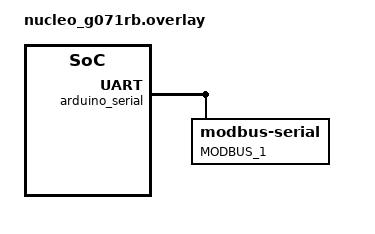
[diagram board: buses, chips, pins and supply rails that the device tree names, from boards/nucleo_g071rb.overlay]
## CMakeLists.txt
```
#
# Copyright (c) 2025 Srishtik Bhandarkar
#
# SPDX-License-Identifier: Apache-2.0
#
cmake_minimum_required(VERSION 3.20.0)
find_package(Zephyr REQUIRED HINTS $ENV{ZEPHYR_BASE})
project(pzem004t)

FILE(GLOB app_sources src/*.c)
target_sources(app PRIVATE ${app_sources})
zephyr_include_directories(${CMAKE_CURRENT_SOURCE_DIR})
```

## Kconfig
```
# Copyright (c) 2025, Srishtik Bhandarkar
# SPDX-License-Identifier: Apache-2.0

mainmenu "PZEM004T Sensor Sample Application"

config READ_MEASUREMENT_VALUES
	bool "Build sample for reading measurement values"
	default n
	help
	  Build the sample application for reading measurement values from the
	  PZEM004T sensor. This sample demonstrates how to read and display
	  various measurement values such as voltage, current, power, and energy.

config READ_SENSOR_PARAMETERS
	bool "Build sample for reading sensor parameters"
	default n
	help
	  Build the sample application for reading sensor parameters from the
	  PZEM004T sensor. This sample demonstrates how to read and display
	  sensor parameters power alarm threshold and modbus rtu address.

config SET_SENSOR_PARAMETERS
	bool "Build sample for setting sensor parameters"
	default n
	help
	  Build the sample application for setting sensor parameters on the
	  PZEM004T sensor. This sample demonstrates how to set sensor parameters
	  such as power alarm threshold and modbus rtu modbus address.

config RESET_ENERGY
	bool "Build sample for setting sensor parameters"
	default n
	help
	  Build the sample application for resetting energy on the
	  PZEM004T sensor. This sample demonstrates how to reset the energy
	  counter on the sensor.

source "Kconfig.zephyr"
```

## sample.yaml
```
sample:
  name: PZEM004T Sensor Sample
tests:
  sample.sensor.pzem004t:
    build_only: true
    platform_allow: nucleo_g071rb
    integration_platforms:
      - nucleo_g071rb
    tags: sensors
```

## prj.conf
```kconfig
CONFIG_LOG=y
CONFIG_SENSOR=y
CONFIG_SENSOR_LOG_LEVEL_ERR=y
CONFIG_MODBUS=y
CONFIG_MODBUS_SERIAL=y
CONFIG_MODBUS_RAW_ADU=y
CONFIG_SENSOR_LOG_LEVEL_ERR=y
CONFIG_PZEM004T_ENABLE_RESET_ENERGY=y
```

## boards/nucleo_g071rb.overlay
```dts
/*
 * Copyright (c) 2025, Srishtik Bhandarkar
 *
 * SPDX-License-Identifier: Apache-2.0
 */

/ {
	aliases {
		pzem004t = &pzem004t;
	};
};

&arduino_serial {
	status = "okay";

	modbus: modbus {
		compatible = "zephyr,modbus-serial";
		status = "okay";
		label = "MODBUS_1";

		pzem004t: pzem004t {
			compatible = "peacefair,pzem004t";
		};
	};
};
```

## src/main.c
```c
/*
 * Copyright (c) 2025, Srishtik Bhandarkar
 *
 * SPDX-License-Identifier: Apache-2.0
 */

#include <zephyr/kernel.h>
#include <zephyr/device.h>
#include <zephyr/drivers/sensor.h>
#include <zephyr/drivers/sensor/pzem004t.h>

#define POWER_ALARM_THRESHOLD 3000
#define MODBUS_RTU_ADDRESS    0x21

void pzem004t_read_measurement_values(const struct device *dev)
{
	struct sensor_value voltage;
	struct sensor_value current;
	struct sensor_value power;
	struct sensor_value frequency;
	struct sensor_value energy;
	struct sensor_value power_factor;
	struct sensor_value alarm_status;

	int ret;
	/* Fetch the latest sample from the sensor */
	ret = sensor_sample_fetch(dev);
	if (ret) {
		printk("Failed to fetch sensor data: %d\n", ret);
	}

	ret = sensor_channel_get(dev, SENSOR_CHAN_VOLTAGE, &voltage);
	if (ret) {
		printk("Failed to get voltage: %d\n", ret);
	} else {
		printk("Voltage: %d.%d V\n", voltage.val1, voltage.val2);
	}

	ret = sensor_channel_get(dev, SENSOR_CHAN_CURRENT, &current);
	if (ret) {
		printk("Failed to get current: %d\n", ret);
	} else {
		printk("Current: %d.%d A\n", current.val1, current.val2);
	}

	ret = sensor_channel_get(dev, SENSOR_CHAN_POWER, &power);
	if (ret) {
		printk("Failed to get power: %d\n", ret);
	} else {
		printk("Power: %d.%d W\n", power.val1, power.val2);
	}

	ret = sensor_channel_get(dev, SENSOR_CHAN_FREQUENCY, &frequency);
	if (ret) {
		printk("Failed to get frequency: %d\n", ret);
	} else {
		printk("Frequency: %d.%d Hz\n", frequency.val1, frequency.val2);
	}

	ret = sensor_channel_get(dev, SENSOR_CHAN_PZEM004T_ENERGY, &energy);
	if (ret) {
		printk("Failed to get energy: %d\n", ret);
	} else {
		printk("Energy: %d.%d Wh\n", energy.val1, energy.val2);
	}

	ret = sensor_channel_get(dev, SENSOR_CHAN_PZEM004T_POWER_FACTOR, &power_factor);
	if (ret) {
		printk("Failed to get power factor: %d\n", ret);
	} else {
		printk("Power Factor: %d.%d\n", power_factor.val1, power_factor.val2);
	}

	ret = sensor_channel_get(dev, SENSOR_CHAN_PZEM004T_ALARM_STATUS, &alarm_status);
	if (ret) {
		printk("Failed to get alarm status: %d\n", ret);
	} else {
		printk("Alarm Status: %d\n\n", alarm_status.val1);
	}
}

void pzem004t_read_sensor_parameters(const struct device *dev)
{
	int ret;
	struct sensor_value power_alarm_threshold;
	struct sensor_value modbus_rtu_address;

	ret = sensor_attr_get(dev, SENSOR_CHAN_PZEM004T_POWER_ALARM_THRESHOLD,
			      SENSOR_ATTR_PZEM004T_POWER_ALARM_THRESHOLD, &power_alarm_threshold);
	if (ret) {
		printk("Failed to get power alarm threshold: %d\n", ret);
	} else {
		printk("Power Alarm Threshold: %d W\n", power_alarm_threshold.val1);
	}

	ret = sensor_attr_get(dev, SENSOR_CHAN_PZEM004T_MODBUS_RTU_ADDRESS,
			      SENSOR_ATTR_PZEM004T_MODBUS_RTU_ADDRESS, &modbus_rtu_address);
	if (ret) {
		printk("Failed to get Modbus RTU address: %d\n", ret);
	} else {
		printk("Modbus RTU Address: 0x%02x\n", modbus_rtu_address.val1);
	}
}

void pzem004t_set_sensor_parameters(const struct device *dev)
{
	int ret;
	struct sensor_value power_alarm_threshold_set = {.val1 = POWER_ALARM_THRESHOLD, .val2 = 0};
	struct sensor_value modbus_rtu_address_set = {.val1 = MODBUS_RTU_ADDRESS, .val2 = 0};

	ret = sensor_attr_set(dev, SENSOR_CHAN_PZEM004T_POWER_ALARM_THRESHOLD,
			      SENSOR_ATTR_PZEM004T_POWER_ALARM_THRESHOLD,
			      &power_alarm_threshold_set);

	if (ret) {
		printk("Failed to set power alarm threshold: %d\n", ret);
	} else {
		printk("Power alarm threshold set to: %d W\n", power_alarm_threshold_set.val1);
	}

	ret = sensor_attr_set(dev, SENSOR_CHAN_PZEM004T_MODBUS_RTU_ADDRESS,
			      SENSOR_ATTR_PZEM004T_MODBUS_RTU_ADDRESS, &modbus_rtu_address_set);

	if (ret) {
		printk("Failed to set Modbus RTU address: %d\n", ret);
	} else {
		printk("Modbus RTU address set to: 0x%02x\n", modbus_rtu_address_set.val1);
	}
}

void pzem004t_reset_energy(const struct device *dev)
{
	int ret;

	ret = sensor_attr_set(dev, SENSOR_CHAN_PZEM004T_RESET_ENERGY,
			      SENSOR_ATTR_PZEM004T_RESET_ENERGY, NULL);
	if (ret) {
		printk("Failed to reset energy: %d\n", ret);
	} else {
		printk("Energy reset successfully\n");
	}
}

int main(void)
{
	const struct device *const dev = DEVICE_DT_GET(DT_ALIAS(pzem004t));

	if (!device_is_ready(dev)) {
		printk("Device %s is not ready\n", dev->name);
		return -ENODEV;
	}

	/*
	 * If you have set your pzemoo4t device address other than the default address,
	 * and you want to set the device address, please use the below code as a reference.
	 *
	 * sensor_attr_set(dev, PZEM004T_SENSOR_CHAN_ADDRESS_INST_SET,
	 *				PZEM004T_SENSOR_ATTR_ADDRESS_INST_SET, value_struct);
	 *
	 * where value_struct is a struct sensor_value with the address you want to set.
	 *
	 * By default if you have a single pzem004t device directly connected on uart
	 * port, you dont have to do this as the default address is already set to 0xf8 in driver.
	 */

	while (1) {
#if CONFIG_READ_MEASUREMENT_VALUES
		pzem004t_read_measurement_values(dev);
		k_msleep(1000);
#endif /* READ_MEASUREMENT_VALUES */

#if CONFIG_READ_SENSOR_PARAMETERS
		pzem004t_read_sensor_parameters(dev);
		return 0;
#endif /* READ_SENSOR_PARAMETERS */

#if CONFIG_SET_SENSOR_PARAMETERS
		pzem004t_set_sensor_parameters(dev);
		return 0;
#endif /* CONFIG_SET_SENSOR_PARAMETERS */

#if CONFIG_RESET_ENERGY
		pzem004t_reset_energy(dev);
		return 0;
#endif /* RESET_ENERGY */
	}

	return 0;
}
```
